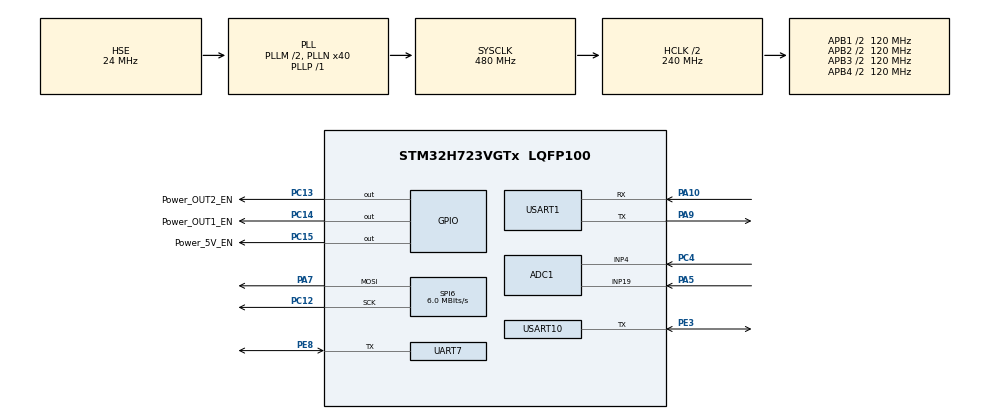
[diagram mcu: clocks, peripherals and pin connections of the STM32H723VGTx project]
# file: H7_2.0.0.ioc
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ADC1.Channel-2\#ChannelRegularConversion=ADC_CHANNEL_4
ADC1.Channel-3\#ChannelRegularConversion=ADC_CHANNEL_19
ADC1.ClockPrescaler=ADC_CLOCK_ASYNC_DIV64
ADC1.ContinuousConvMode=ENABLE
ADC1.ConversionDataManagement=ADC_CONVERSIONDATA_DMA_CIRCULAR
ADC1.EOCSelection=ADC_EOC_SINGLE_CONV
ADC1.NbrOfConversion=2
ADC1.NbrOfConversionFlag=1
ADC1.OffsetNumber-2\#ChannelRegularConversion=ADC_OFFSET_NONE
ADC1.OffsetNumber-3\#ChannelRegularConversion=ADC_OFFSET_NONE
ADC1.OffsetSignedSaturation-2\#ChannelRegularConversion=DISABLE
ADC1.OffsetSignedSaturation-3\#ChannelRegularConversion=DISABLE
ADC1.Overrun=ADC_OVR_DATA_PRESERVED
ADC1.Rank-2\#ChannelRegularConversion=1
ADC1.Rank-3\#ChannelRegularConversion=2
ADC1.SamplingTime-2\#ChannelRegularConversion=ADC_SAMPLETIME_32CYCLES_5
ADC1.SamplingTime-3\#ChannelRegularConversion=ADC_SAMPLETIME_32CYCLES_5
ADC1.master=1
Bdma.Request0=SPI6_TX
Bdma.RequestsNb=1
Bdma.SPI6_TX.0.Direction=DMA_MEMORY_TO_PERIPH
Bdma.SPI6_TX.0.EventEnable=DISABLE
Bdma.SPI6_TX.0.Instance=BDMA_Channel0
Bdma.SPI6_TX.0.MemDataAlignment=DMA_MDATAALIGN_BYTE
Bdma.SPI6_TX.0.MemInc=DMA_MINC_ENABLE
Bdma.SPI6_TX.0.Mode=DMA_NORMAL
Bdma.SPI6_TX.0.PeriphDataAlignment=DMA_PDATAALIGN_BYTE
Bdma.SPI6_TX.0.PeriphInc=DMA_PINC_DISABLE
Bdma.SPI6_TX.0.Polarity=HAL_DMAMUX_REQ_GEN_RISING
Bdma.SPI6_TX.0.Priority=DMA_PRIORITY_LOW
Bdma.SPI6_TX.0.RequestNumber=1
Bdma.SPI6_TX.0.SignalID=NONE
Bdma.SPI6_TX.0.SyncEnable=DISABLE
Bdma.SPI6_TX.0.SyncPolarity=HAL_DMAMUX_SYNC_NO_EVENT
Bdma.SPI6_TX.0.SyncRequestNumber=1
Bdma.SPI6_TX.0.SyncSignalID=NONE
CORTEX_M7.CPU_DCache=Disabled
CORTEX_M7.CPU_ICache=Disabled
Dma.ADC1.0.Direction=DMA_PERIPH_TO_MEMORY
Dma.ADC1.0.EventEnable=DISABLE
Dma.ADC1.0.FIFOMode=DMA_FIFOMODE_DISABLE
Dma.ADC1.0.Instance=DMA1_Stream0
Dma.ADC1.0.MemDataAlignment=DMA_MDATAALIGN_HALFWORD
Dma.ADC1.0.MemInc=DMA_MINC_ENABLE
Dma.ADC1.0.Mode=DMA_CIRCULAR
Dma.ADC1.0.PeriphDataAlignment=DMA_PDATAALIGN_HALFWORD
Dma.ADC1.0.PeriphInc=DMA_PINC_DISABLE
Dma.ADC1.0.Polarity=HAL_DMAMUX_REQ_GEN_RISING
Dma.ADC1.0.Priority=DMA_PRIORITY_LOW
Dma.ADC1.0.RequestNumber=1
Dma.ADC1.0.SignalID=NONE
Dma.ADC1.0.SyncEnable=DISABLE
Dma.ADC1.0.SyncPolarity=HAL_DMAMUX_SYNC_NO_EVENT
Dma.ADC1.0.SyncRequestNumber=1
Dma.ADC1.0.SyncSignalID=NONE
Dma.Request0=ADC1
Dma.Request1=USART1_RX
Dma.Request2=USART1_TX
Dma.Request3=USART10_RX
Dma.Request4=USART10_TX
Dma.Request5=UART7_RX
Dma.Request6=UART7_TX
Dma.UART7_RX.5.Direction=DMA_PERIPH_TO_MEMORY
Dma.UART7_RX.5.EventEnable=DISABLE
Dma.UART7_RX.5.FIFOMode=DMA_FIFOMODE_DISABLE
Dma.UART7_RX.5.Instance=DMA1_Stream4
Dma.UART7_RX.5.MemDataAlignment=DMA_MDATAALIGN_BYTE
Dma.UART7_RX.5.MemInc=DMA_MINC_ENABLE
Dma.UART7_RX.5.Mode=DMA_NORMAL
Dma.UART7_RX.5.PeriphDataAlignment=DMA_PDATAALIGN_BYTE
Dma.UART7_RX.5.PeriphInc=DMA_PINC_DISABLE
Dma.UART7_RX.5.Polarity=HAL_DMAMUX_REQ_GEN_RISING
Dma.UART7_RX.5.Priority=DMA_PRIORITY_LOW
Dma.UART7_RX.5.RequestNumber=1
Dma.UART7_RX.5.SignalID=NONE
Dma.UART7_RX.5.SyncEnable=DISABLE
Dma.UART7_RX.5.SyncPolarity=HAL_DMAMUX_SYNC_NO_EVENT
Dma.UART7_RX.5.SyncRequestNumber=1
Dma.UART7_RX.5.SyncSignalID=NONE
Dma.UART7_TX.6.Direction=DMA_MEMORY_TO_PERIPH
Dma.UART7_TX.6.EventEnable=DISABLE
Dma.UART7_TX.6.FIFOMode=DMA_FIFOMODE_DISABLE
Dma.UART7_TX.6.Instance=DMA1_Stream5
Dma.UART7_TX.6.MemDataAlignment=DMA_MDATAALIGN_BYTE
Dma.UART7_TX.6.MemInc=DMA_MINC_ENABLE
Dma.UART7_TX.6.Mode=DMA_NORMAL
Dma.UART7_TX.6.PeriphDataAlignment=DMA_PDATAALIGN_BYTE
Dma.UART7_TX.6.PeriphInc=DMA_PINC_DISABLE
Dma.UART7_TX.6.Polarity=HAL_DMAMUX_REQ_GEN_RISING
Dma.UART7_TX.6.Priority=DMA_PRIORITY_LOW
Dma.UART7_TX.6.RequestNumber=1
Dma.UART7_TX.6.SignalID=NONE
Dma.UART7_TX.6.SyncEnable=DISABLE
Dma.UART7_TX.6.SyncPolarity=HAL_DMAMUX_SYNC_NO_EVENT
Dma.UART7_TX.6.SyncRequestNumber=1
Dma.UART7_TX.6.SyncSignalID=NONE
Dma.USART10_RX.3.Direction=DMA_PERIPH_TO_MEMORY
Dma.USART10_RX.3.EventEnable=DISABLE
Dma.USART10_RX.3.FIFOMode=DMA_FIFOMODE_DISABLE
Dma.USART10_RX.3.Instance=DMA1_Stream2
Dma.USART10_RX.3.MemDataAlignment=DMA_MDATAALIGN_BYTE
Dma.USART10_RX.3.MemInc=DMA_MINC_ENABLE
Dma.USART10_RX.3.Mode=DMA_NORMAL
Dma.USART10_RX.3.PeriphDataAlignment=DMA_PDATAALIGN_BYTE
Dma.USART10_RX.3.PeriphInc=DMA_PINC_DISABLE
Dma.USART10_RX.3.Polarity=HAL_DMAMUX_REQ_GEN_RISING
Dma.USART10_RX.3.Priority=DMA_PRIORITY_LOW
Dma.USART10_RX.3.RequestNumber=1
Dma.USART10_RX.3.SignalID=NONE
Dma.USART10_RX.3.SyncEnable=DISABLE
Dma.USART10_RX.3.SyncPolarity=HAL_DMAMUX_SYNC_NO_EVENT
Dma.USART10_RX.3.SyncRequestNumber=1
Dma.USART10_RX.3.SyncSignalID=NONE
Dma.USART10_TX.4.Direction=DMA_MEMORY_TO_PERIPH
Dma.USART10_TX.4.EventEnable=DISABLE
Dma.USART10_TX.4.FIFOMode=DMA_FIFOMODE_DISABLE
Dma.USART10_TX.4.Instance=DMA1_Stream3
Dma.USART10_TX.4.MemDataAlignment=DMA_MDATAALIGN_BYTE
Dma.USART10_TX.4.MemInc=DMA_MINC_ENABLE
Dma.USART10_TX.4.Mode=DMA_NORMAL
Dma.USART10_TX.4.PeriphDataAlignment=DMA_PDATAALIGN_BYTE
Dma.USART10_TX.4.PeriphInc=DMA_PINC_DISABLE
Dma.USART10_TX.4.Polarity=HAL_DMAMUX_REQ_GEN_RISING
Dma.USART10_TX.4.Priority=DMA_PRIORITY_LOW
Dma.USART10_TX.4.RequestNumber=1
Dma.USART10_TX.4.SignalID=NONE
Dma.USART10_TX.4.SyncEnable=DISABLE
Dma.USART10_TX.4.SyncPolarity=HAL_DMAMUX_SYNC_NO_EVENT
Dma.USART10_TX.4.SyncRequestNumber=1
Dma.USART10_TX.4.SyncSignalID=NONE
Dma.USART1_RX.1.Direction=DMA_PERIPH_TO_MEMORY
Dma.USART1_RX.1.EventEnable=DISABLE
Dma.USART1_RX.1.FIFOMode=DMA_FIFOMODE_DISABLE
Dma.USART1_RX.1.Instance=DMA1_Stream1
Dma.USART1_RX.1.MemDataAlignment=DMA_MDATAALIGN_BYTE
Dma.USART1_RX.1.MemInc=DMA_MINC_ENABLE
Dma.USART1_RX.1.Mode=DMA_NORMAL
Dma.USART1_RX.1.PeriphDataAlignment=DMA_PDATAALIGN_BYTE
Dma.USART1_RX.1.PeriphInc=DMA_PINC_DISABLE
Dma.USART1_RX.1.Polarity=HAL_DMAMUX_REQ_GEN_RISING
Dma.USART1_RX.1.Priority=DMA_PRIORITY_LOW
Dma.USART1_RX.1.RequestNumber=1
Dma.USART1_RX.1.SignalID=NONE
Dma.USART1_RX.1.SyncEnable=DISABLE
Dma.USART1_RX.1.SyncPolarity=HAL_DMAMUX_SYNC_NO_EVENT
Dma.USART1_RX.1.SyncRequestNumber=1
Dma.USART1_RX.1.SyncSignalID=NONE
Dma.USART1_TX.2.Direction=DMA_MEMORY_TO_PERIPH
Dma.USART1_TX.2.EventEnable=DISABLE
Dma.USART1_TX.2.FIFOMode=DMA_FIFOMODE_DISABLE
Dma.USART1_TX.2.Instance=DMA1_Stream6
Dma.USART1_TX.2.MemDataAlignment=DMA_MDATAALIGN_BYTE
Dma.USART1_TX.2.MemInc=DMA_MINC_ENABLE
Dma.USART1_TX.2.Mode=DMA_NORMAL
Dma.USART1_TX.2.PeriphDataAlignment=DMA_PDATAALIGN_BYTE
Dma.USART1_TX.2.PeriphInc=DMA_PINC_DISABLE
Dma.USART1_TX.2.Polarity=HAL_DMAMUX_REQ_GEN_RISING
Dma.USART1_TX.2.Priority=DMA_PRIORITY_LOW
Dma.USART1_TX.2.RequestNumber=1
Dma.USART1_TX.2.SignalID=NONE
Dma.USART1_TX.2.SyncEnable=DISABLE
Dma.USART1_TX.2.SyncPolarity=HAL_DMAMUX_SYNC_NO_EVENT
Dma.USART1_TX.2.SyncRequestNumber=1
Dma.USART1_TX.2.SyncSignalID=NONE
Mcu.Family=STM32H7
Mcu.Name=STM32H723VGTx
Mcu.Package=LQFP100
NVIC.BDMA_Channel0_IRQn=true\:0\:0\:false\:false\:true\:true\:true\:true
NVIC.DMA1_Stream0_IRQn=true\:0\:0\:false\:false\:true\:false\:true\:true
NVIC.DMA1_Stream1_IRQn=true\:5\:0\:false\:false\:true\:true\:false\:true
NVIC.DMA1_Stream2_IRQn=true\:5\:0\:false\:false\:true\:true\:false\:true
NVIC.DMA1_Stream3_IRQn=true\:5\:0\:false\:false\:true\:true\:false\:true
NVIC.DMA1_Stream4_IRQn=true\:5\:0\:false\:false\:true\:true\:false\:true
NVIC.DMA1_Stream5_IRQn=true\:5\:0\:false\:false\:true\:true\:false\:true
NVIC.DMA1_Stream6_IRQn=true\:5\:0\:false\:false\:true\:true\:false\:true
NVIC.PriorityGroup=NVIC_PRIORITYGROUP_4
NVIC.SPI6_IRQn=true\:0\:0\:false\:false\:true\:true\:true\:true
NVIC.UART7_IRQn=true\:5\:0\:false\:false\:true\:true\:true\:true
NVIC.USART10_IRQn=true\:5\:0\:false\:false\:true\:true\:true\:true
NVIC.USART1_IRQn=true\:5\:0\:false\:false\:true\:true\:true\:true
PA10.Mode=Asynchronous
PA10.Signal=USART1_RX
PA13(JTMS/SWDIO).Mode=Serial_Wire
PA13(JTMS/SWDIO).Signal=DEBUG_JTMS-SWDIO
PA14(JTCK/SWCLK).Mode=Serial_Wire
PA14(JTCK/SWCLK).Signal=DEBUG_JTCK-SWCLK
PA5.Signal=ADCx_INP19
PA7.Mode=TX_Only_Simplex_Unidirect_Master
PA7.Signal=SPI6_MOSI
PA9.Mode=Asynchronous
PA9.Signal=USART1_TX
PC12.Mode=TX_Only_Simplex_Unidirect_Master
PC12.Signal=SPI6_SCK
PC13.GPIO_Label=Power_OUT2_EN
PC13.Signal=GPIO_Output
PC14-OSC32_IN.GPIO_Label=Power_OUT1_EN
PC14-OSC32_IN.Signal=GPIO_Output
PC15-OSC32_OUT.GPIO_Label=Power_5V_EN
PC15-OSC32_OUT.Signal=GPIO_Output
PC4.Signal=ADCx_INP4
PE2.Signal=USART10_RX
PE3.GPIO_ModeDefaultPP=GPIO_MODE_AF_OD
PE3.Mode=Half_duplex(single_wire_mode)
PE3.Signal=USART10_TX
PE8.GPIO_ModeDefaultPP=GPIO_MODE_AF_OD
PE8.Mode=Half_duplex(single_wire_mode)
PE8.Signal=UART7_TX
PH0-OSC_IN.Mode=HSE-External-Oscillator
PH0-OSC_IN.Signal=RCC_OSC_IN
PH1-OSC_OUT.Mode=HSE-External-Oscillator
PH1-OSC_OUT.Signal=RCC_OSC_OUT
ProjectManager.HeapSize=0x200
ProjectManager.StackSize=0x400
ProjectManager.TargetToolchain=STM32CubeIDE
RCC.ADCFreq_Value=96000000
RCC.APB1Freq_Value=120000000
RCC.APB2Freq_Value=120000000
RCC.APB3Freq_Value=120000000
RCC.APB4Freq_Value=120000000
RCC.CortexFreq_Value=480000000
RCC.D1PPRE=RCC_APB3_DIV2
RCC.D2PPRE1=RCC_APB1_DIV2
RCC.D2PPRE2=RCC_APB2_DIV2
RCC.D3PPRE=RCC_APB4_DIV2
RCC.DIVM1=2
RCC.DIVM2=2
RCC.DIVN1=40
RCC.DIVN2=16
RCC.DIVP1=1
RCC.HCLKFreq_Value=240000000
RCC.HPRE=RCC_HCLK_DIV2
RCC.HSE_VALUE=24000000
RCC.PLLFRACN=0
RCC.PLLSourceVirtual=RCC_PLLSOURCE_HSE
RCC.SPI6CLockSelection=RCC_SPI6CLKSOURCE_HSE
RCC.SYSCLKFreq_VALUE=480000000
RCC.SYSCLKSource=RCC_SYSCLKSOURCE_PLLCLK
RCC.USBFreq_Value=240000000
SH.ADCx_INP19.0=ADC1_INP19,IN19-Single-Ended
SH.ADCx_INP4.0=ADC1_INP4,IN4-Single-Ended
SPI6.BaudRatePrescaler=SPI_BAUDRATEPRESCALER_4
SPI6.CLKPhase=SPI_PHASE_2EDGE
SPI6.CalculateBaudRate=6.0 MBits/s
SPI6.DataSize=SPI_DATASIZE_8BIT
SPI6.Direction=SPI_DIRECTION_2LINES_TXONLY
SPI6.Mode=SPI_MODE_MASTER
SPI6.VirtualType=VM_MASTER
UART7.BaudRate=38400
UART7.RxPinLevelInvertParam=UART_ADVFEATURE_RXINV_ENABLE
UART7.TxPinLevelInvertParam=UART_ADVFEATURE_TXINV_ENABLE
USART1.VirtualMode-Asynchronous=VM_ASYNC
USART10.BaudRate=38400
USART10.RxPinLevelInvertParam=ADVFEATURE_RXINV_ENABLE
USART10.TxPinLevelInvertParam=ADVFEATURE_TXINV_ENABLE
USART10.VirtualMode=VM_ASYNC
board=custom

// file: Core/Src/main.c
/* USER CODE BEGIN Header */
/**
  ******************************************************************************
  * @file           : main.c
  * @brief          : Main program body
  ******************************************************************************
  * @attention
  *
  * Copyright (c) 2026 STMicroelectronics.
  * All rights reserved.
  *
  * This software is licensed under terms that can be found in the LICENSE file
  * in the root directory of this software component.
  * If no LICENSE file comes with this software, it is provided AS-IS.
  *
  ******************************************************************************
  */
/* USER CODE END Header */
#include "main.h"
#include "adc.h"
#include "bdma.h"
#include "dma.h"
#include "spi.h"
#include "usart.h"
#include "gpio.h"

/* USER CODE BEGIN Includes */
#include <string.h>
/* USER CODE END Includes */

/* USER CODE BEGIN PV */
/* Single-bus relay: USART1 (PC) <-> UART7 (half-duplex motor bus). Copied from L475 logic. */
uint8_t usart1_rx_data[256] = {0};
uint8_t uart7_tx_buf[256] = {0};
uint8_t uart7_rx_data[256] = {0};
uint8_t usart1_tx_buf[256] = {0};

volatile uint16_t uart7_tx_len = 0;
volatile uint16_t usart1_tx_len = 0;

volatile uint8_t usart1_tx_busy = 0;
volatile uint8_t uart7_tx_busy = 0;
/* USER CODE END PV */

void SystemClock_Config(void);

/* USER CODE BEGIN 0 */

static void USART1_StartRxDMA(void)
{
  HAL_UART_DMAStop(&huart1);
  if (HAL_UARTEx_ReceiveToIdle_DMA(&huart1, usart1_rx_data, sizeof(usart1_rx_data)) == HAL_OK)
  {
    __HAL_DMA_DISABLE_IT(huart1.hdmarx, DMA_IT_HT);
  }
}

static void UART7_StartRxDMA(void)
{
  HAL_UART_DMAStop(&huart7);
  HAL_HalfDuplex_EnableReceiver(&huart7);
  if (HAL_UARTEx_ReceiveToIdle_DMA(&huart7, uart7_rx_data, sizeof(uart7_rx_data)) == HAL_OK)
  {
    __HAL_DMA_DISABLE_IT(huart7.hdmarx, DMA_IT_HT);
  }
}

static void UART7_StopRxDMA(void)
{
  HAL_UART_DMAStop(&huart7);
}
/* USER CODE END 0 */

int main(void)
{

  /* MCU Configuration--------------------------------------------------------*/

  /* Reset of all peripherals, Initializes the Flash interface and the Systick. */
  HAL_Init();

  /* Configure the system clock */
  SystemClock_Config();

  /* Initialize all configured peripherals */
  MX_GPIO_Init();
  MX_BDMA_Init();
  MX_DMA_Init();
  MX_ADC1_Init();
  MX_SPI6_Init();
  MX_USART1_UART_Init();
  MX_UART7_Init();
  MX_USART10_UART_Init();
  /* USER CODE BEGIN 2 */
  HAL_GPIO_TogglePin(Power_5V_EN_GPIO_Port, Power_5V_EN_Pin);
  HAL_GPIO_TogglePin(Power_OUT2_EN_GPIO_Port, Power_OUT2_EN_Pin);
  HAL_GPIO_TogglePin(Power_OUT1_EN_GPIO_Port, Power_OUT1_EN_Pin);
  HAL_Delay(300);
  USART1_StartRxDMA();
  UART7_StartRxDMA();

  /* USER CODE END 2 */

  /* Infinite loop */
  while (1)
  {

  }
}

void SystemClock_Config(void)
{
  RCC_OscInitTypeDef RCC_OscInitStruct = {0};
  RCC_ClkInitTypeDef RCC_ClkInitStruct = {0};

  /** Supply configuration update enable
  */
  HAL_PWREx_ConfigSupply(PWR_LDO_SUPPLY);

  /** Configure the main internal regulator output voltage
  */
  __HAL_PWR_VOLTAGESCALING_CONFIG(PWR_REGULATOR_VOLTAGE_SCALE0);

  while(!__HAL_PWR_GET_FLAG(PWR_FLAG_VOSRDY)) {}

  /** Initializes the RCC Oscillators according to the specified parameters
  * in the RCC_OscInitTypeDef structure.
  */
  RCC_OscInitStruct.OscillatorType = RCC_OSCILLATORTYPE_HSE;
  RCC_OscInitStruct.HSEState = RCC_HSE_ON;
  RCC_OscInitStruct.PLL.PLLState = RCC_PLL_ON;
  RCC_OscInitStruct.PLL.PLLSource = RCC_PLLSOURCE_HSE;
  RCC_OscInitStruct.PLL.PLLM = 2;
  RCC_OscInitStruct.PLL.PLLN = 40;
  RCC_OscInitStruct.PLL.PLLP = 1;
  RCC_OscInitStruct.PLL.PLLQ = 2;
  RCC_OscInitStruct.PLL.PLLR = 2;
  RCC_OscInitStruct.PLL.PLLRGE = RCC_PLL1VCIRANGE_3;
  RCC_OscInitStruct.PLL.PLLVCOSEL = RCC_PLL1VCOWIDE;
  RCC_OscInitStruct.PLL.PLLFRACN = 0;
  if (HAL_RCC_OscConfig(&RCC_OscInitStruct) != HAL_OK)
  {
    Error_Handler();
  }

  /** Initializes the CPU, AHB and APB buses clocks
  */
  RCC_ClkInitStruct.ClockType = RCC_CLOCKTYPE_HCLK|RCC_CLOCKTYPE_SYSCLK
                              |RCC_CLOCKTYPE_PCLK1|RCC_CLOCKTYPE_PCLK2
                              |RCC_CLOCKTYPE_D3PCLK1|RCC_CLOCKTYPE_D1PCLK1;
  RCC_ClkInitStruct.SYSCLKSource = RCC_SYSCLKSOURCE_PLLCLK;
  RCC_ClkInitStruct.SYSCLKDivider = RCC_SYSCLK_DIV1;
  RCC_ClkInitStruct.AHBCLKDivider = RCC_HCLK_DIV2;
  RCC_ClkInitStruct.APB3CLKDivider = RCC_APB3_DIV2;
  RCC_ClkInitStruct.APB1CLKDivider = RCC_APB1_DIV2;
  RCC_ClkInitStruct.APB2CLKDivider = RCC_APB2_DIV2;
  RCC_ClkInitStruct.APB4CLKDivider = RCC_APB4_DIV2;

  if (HAL_RCC_ClockConfig(&RCC_ClkInitStruct, FLASH_LATENCY_3) != HAL_OK)
  {
    Error_Handler();
  }
}

/* USER CODE BEGIN 4 */
void HAL_UART_ErrorCallback(UART_HandleTypeDef *huart)
{
  if (huart->Instance == UART7)
  {
    HAL_UART_DMAStop(&huart7);
    HAL_UART_Abort(&huart7);
    __HAL_UART_CLEAR_OREFLAG(&huart7);
    __HAL_UART_CLEAR_FEFLAG(&huart7);
    __HAL_UART_CLEAR_NEFLAG(&huart7);
    __HAL_UART_CLEAR_PEFLAG(&huart7);
    __HAL_UART_CLEAR_IDLEFLAG(&huart7);
    uart7_tx_busy = 0;
    UART7_StartRxDMA();
  }
  else if (huart->Instance == USART1)
  {
    HAL_UART_DMAStop(&huart1);
    HAL_UART_Abort(&huart1);
    __HAL_UART_CLEAR_OREFLAG(&huart1);
    __HAL_UART_CLEAR_FEFLAG(&huart1);
    __HAL_UART_CLEAR_NEFLAG(&huart1);
    __HAL_UART_CLEAR_PEFLAG(&huart1);
    __HAL_UART_CLEAR_IDLEFLAG(&huart1);
    usart1_tx_busy = 0;
    USART1_StartRxDMA();
  }
}

void HAL_UART_TxCpltCallback(UART_HandleTypeDef *huart)
{
  if (huart->Instance == USART1)
  {
    usart1_tx_busy = 0;
  }
  else if (huart->Instance == UART7)
  {
    uart7_tx_busy = 0;
    UART7_StartRxDMA();
  }
}

void HAL_UARTEx_RxEventCallback(UART_HandleTypeDef *huart, uint16_t Size)
{
  if (huart->Instance == USART1)
  {
    if ((Size > 0U) && (Size <= sizeof(uart7_tx_buf)) && (!uart7_tx_busy))
    {
      memcpy(uart7_tx_buf, usart1_rx_data, Size);
      uart7_tx_len = Size;
      UART7_StopRxDMA();
      HAL_HalfDuplex_EnableTransmitter(&huart7);
      if (HAL_UART_Transmit_DMA(&huart7, uart7_tx_buf, uart7_tx_len) == HAL_OK)
      {
        uart7_tx_busy = 1;
      }
      else
      {
        uart7_tx_busy = 0;
        UART7_StartRxDMA();
      }
    }
    USART1_StartRxDMA();
  }
  else if (huart->Instance == UART7)
  {
    if ((Size > 0U) && (Size <= sizeof(usart1_tx_buf)) && (!usart1_tx_busy))
    {
      memcpy(usart1_tx_buf, uart7_rx_data, Size);
      usart1_tx_len = Size;
      if (HAL_UART_Transmit_DMA(&huart1, usart1_tx_buf, usart1_tx_len) == HAL_OK)
      {
        usart1_tx_busy = 1;
      }
    }
    UART7_StartRxDMA();
  }
}
/* USER CODE END 4 */

void Error_Handler(void)
{
  __disable_irq();
  while (1)
  {
  }
}
